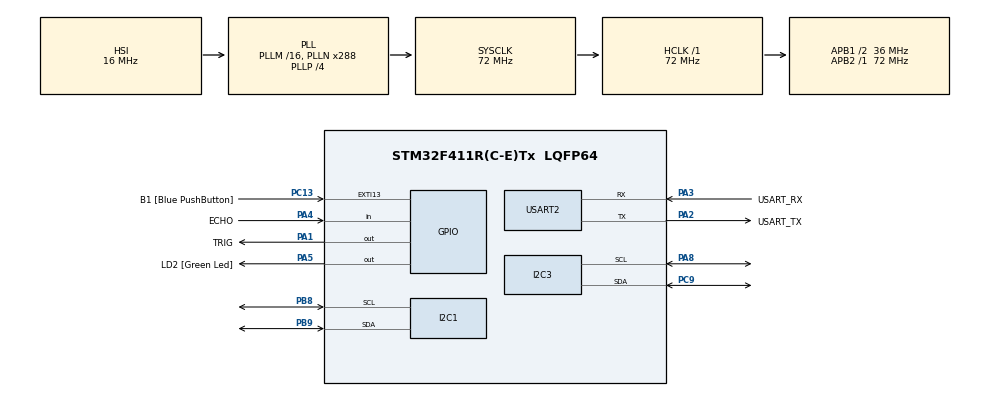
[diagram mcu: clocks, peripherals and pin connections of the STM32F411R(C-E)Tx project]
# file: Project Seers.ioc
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Mcu.Family=STM32F4
Mcu.Name=STM32F411R(C-E)Tx
Mcu.Package=LQFP64
NVIC.PriorityGroup=NVIC_PRIORITYGROUP_0
PA1.GPIO_Label=TRIG
PA1.Signal=GPIO_Output
PA13.GPIO_Label=TMS
PA13.Mode=Serial_Wire
PA13.Signal=SYS_JTMS-SWDIO
PA14.GPIO_Label=TCK
PA14.Mode=Serial_Wire
PA14.Signal=SYS_JTCK-SWCLK
PA2.GPIO_Label=USART_TX
PA2.Mode=Asynchronous
PA2.Signal=USART2_TX
PA3.GPIO_Label=USART_RX
PA3.Mode=Asynchronous
PA3.Signal=USART2_RX
PA4.GPIO_Label=ECHO
PA4.Signal=GPIO_Input
PA5.GPIO_Label=LD2 [Green Led]
PA5.Signal=GPIO_Output
PA8.Mode=I2C
PA8.Signal=I2C3_SCL
PB3.GPIO_Label=SWO
PB3.Signal=SYS_JTDO-SWO
PB8.Mode=I2C
PB8.Signal=I2C1_SCL
PB9.Mode=I2C
PB9.Signal=I2C1_SDA
PC13-ANTI_TAMP.GPIO_Label=B1 [Blue PushButton]
PC13-ANTI_TAMP.GPIO_ModeDefaultEXTI=GPIO_MODE_IT_FALLING
PC13-ANTI_TAMP.Signal=GPXTI13
PC14-OSC32_IN.Signal=RCC_OSC32_IN
PC15-OSC32_OUT.Signal=RCC_OSC32_OUT
PC9.Mode=I2C
PC9.Signal=I2C3_SDA
PH0\ -\ OSC_IN.Mode=HSE-External-Oscillator
PH0\ -\ OSC_IN.Signal=RCC_OSC_IN
PH1\ -\ OSC_OUT.Mode=HSE-External-Oscillator
PH1\ -\ OSC_OUT.Signal=RCC_OSC_OUT
ProjectManager.HeapSize=0x200
ProjectManager.StackSize=0x400
ProjectManager.TargetToolchain=TrueSTUDIO
RCC.48MHZClocksFreq_Value=108000000
RCC.AHBFreq_Value=72000000
RCC.APB1CLKDivider=RCC_HCLK_DIV2
RCC.APB1Freq_Value=36000000
RCC.APB1TimFreq_Value=72000000
RCC.APB2Freq_Value=72000000
RCC.APB2TimFreq_Value=72000000
RCC.CortexFreq_Value=72000000
RCC.FLatency-AdvancedSettings=FLASH_LATENCY_2
RCC.HCLKFreq_Value=72000000
RCC.HSE_VALUE=8000000
RCC.HSI_VALUE=16000000
RCC.LSE_VALUE=32768
RCC.PLLM=4
RCC.PLLN=216
RCC.PLLP=RCC_PLLP_DIV6
RCC.PLLSourceVirtual=RCC_PLLSOURCE_HSE
RCC.SYSCLKFreq_VALUE=72000000
RCC.SYSCLKSource=RCC_SYSCLKSOURCE_PLLCLK
RCC.VCOOutputFreq_Value=432000000
USART2.VirtualMode=VM_ASYNC
board=NUCLEO-F411RE

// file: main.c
/* USER CODE BEGIN Header */
/**
  ******************************************************************************
  * @file           : main.c
  * @brief          : Main program body
  ******************************************************************************
  * @attention
  *
  * <h2><center>&copy; Copyright (c) 2019 STMicroelectronics.
  * All rights reserved.</center></h2>
  *
  * This software component is licensed by ST under BSD 3-Clause license,
  * the "License"; You may not use this file except in compliance with the
  * License. You may obtain a copy of the License at:
  *                        opensource.org/licenses/BSD-3-Clause
  *
  ******************************************************************************
  */
/* USER CODE END Header */

#include "main.h"
#include "stm32f4xx.h"
#include "stm32f4xx_hal.h"
#include "vl53l1_api.h"
#include "dwt_stm32_delay.h"
#include <stdio.h>

I2C_HandleTypeDef hi2c1;
I2C_HandleTypeDef hi2c3;

UART_HandleTypeDef huart2;

/* USER CODE BEGIN PV */

// I2C addresses of GPIO expanders on the X-NUCLEO-53L1A1
#define EXPANDER_1_ADDR 0x84 // 0x42 << 1
#define EXPANDER_2_ADDR 0x86 // 0x43 << 1

/* USER CODE END PV */

void SystemClock_Config(void);
static void MX_GPIO_Init(void);
static void MX_I2C1_Init(void);
static void MX_I2C3_Init(void);
static void MX_USART2_UART_Init(void);
void Error_Handler(void);
float hcsr04_read (void);
void HAL_UART_RxCpltCallback(UART_HandleTypeDef *huart);

/* USER CODE BEGIN 0 */

#ifdef __GNUC__
/* With GCC/RAISONANCE, small printf (option LD Linker->Libraries->Small printf
 set to 'Yes') calls __io_putchar() */
#define PUTCHAR_PROTOTYPE int __io_putchar(int ch)
#else
#define PUTCHAR_PROTOTYPE int fputc(int ch, FILE *f)
#endif /* __GNUC__ */

int k=0;
int diff=0;
int local_time=0;
float sensor_time;
float distance;

float hcsr04_read (void)
{

	local_time=0;
	HAL_GPIO_WritePin(GPIOA, TRIG_Pin, GPIO_PIN_RESET);  // pull the TRIG pin HIGH
	DWT_Delay_us(2); //wait for 2 us

	HAL_GPIO_WritePin(GPIOA, TRIG_Pin, GPIO_PIN_SET);  // pull the TRIG pin HIGH
	DWT_Delay_us(10); //wait for 10 us

	HAL_GPIO_WritePin(GPIOA, TRIG_Pin, GPIO_PIN_RESET);  // pull the TRIG pin low

	// read the time for which the pin is high
	//DWT_Delay_us(2); //wait for  us
	while (!(HAL_GPIO_ReadPin(GPIOA, ECHO_Pin)))// wait for the ECHO pin to go high
	{
		//HAL_GPIO_WritePin(GPIOA, LD2_Pin,GPIO_PIN_RESET);
	}

	while (HAL_GPIO_ReadPin(GPIOA, ECHO_Pin))    // while the pin is high
	 {
		//HAL_GPIO_WritePin(GPIOA, LD2_Pin, GPIO_PIN_SET);
		local_time++;   // measure time for which the pin is high
		DWT_Delay_us(1); //wait for 1 us

	 }
	return local_time*2;
}

/* USER CODE END 0 */

uint8_t rx[15];
char str2[15]="XXXXXXXXXX";
int test=0;

int TLx=0;
int TLy=0;
int BRx=0;
int BRy=0;
int itn=0; //Default to 0 iterations

char temp_TLx[3]= "00\0";
char temp_TLy[3]= "00\0";
char temp_BRx[3]= "00\0";
char temp_BRy[3]= "00\0";
char temp_itn[5]= "0000\0";

uint8_t a=0;
uint8_t b=15;
uint8_t c=15;
uint8_t d=0;
int l=0;
int phase=1;
int total_itn=0;
int count=0;
int grid=1;
int block=1;

int main(void)
{
  /* USER CODE BEGIN 1 */

	uint8_t buff[100];
	VL53L1_RangingMeasurementData_t RangingData;
	VL53L1_Dev_t  vl53l1_c; // center module
	VL53L1_DEV    Dev = &vl53l1_c;
	VL53L1_CalibrationData_t OpCent;
	VL53L1_UserRoi_t roiConfig;

	char str1[100]="1234567890";

///////////////////////

//int i=0;
int j=0;
int k=0;

int start=0;

///////////////////////

  /* USER CODE END 1 */

  /* MCU Configuration--------------------------------------------------------*/

  /* Reset of all peripherals, Initializes the Flash interface and the Systick. */
  HAL_Init();
  //HAL_InitTick(10);

  /* USER CODE BEGIN Init */
   DWT_Delay_Init();
  /* USER CODE END Init */

  /* Configure the system clock */
  SystemClock_Config();

  /* Initialize all configured peripherals */
  MX_GPIO_Init();
  MX_I2C1_Init();
  MX_I2C3_Init();
  MX_USART2_UART_Init();

  /* USER CODE BEGIN 2 */

  // initialize vl53l1x communication parameters
  Dev->I2cHandle = &hi2c1;
  Dev->I2cDevAddr = 0x52;

  /*** Initialize GPIO expanders ***/
  // Unused GPIO should be configured as outputs to minimize the power consumption
  buff[0] = 0x14; // GPDR (GPIO set direction register)
  buff[1] = 0xFF; // GPIO_0 - GPIO_7
  buff[2] = 0xFF; // GPIO_8 - GPIO_15
  HAL_I2C_Master_Transmit( &hi2c1, EXPANDER_1_ADDR, buff, 3, 0xFFFF );
  HAL_I2C_Master_Transmit( &hi2c1, EXPANDER_2_ADDR, buff, 3, 0xFFFF );

  // clear XSHUT (disable center module) -> expander 1, GPIO_15
  buff[0] = 0x13; // GPSR + 1 ( GPIO set pin state register)
  HAL_I2C_Master_Transmit( &hi2c1, EXPANDER_1_ADDR, buff, 1, 0xFFFF );
  HAL_I2C_Master_Receive( &hi2c1, EXPANDER_1_ADDR, buff, 1, 0xFFFF );
  buff[1] = buff[0] & ~( 1 << ( 15 - 8 ) ); // clear GPIO_15
  buff[0] = 0x13; // GPSR + 1 ( GPIO set pin state register)
  HAL_I2C_Master_Transmit( &hi2c1, EXPANDER_1_ADDR, buff, 2, 0xFFFF );

  HAL_Delay(2); // 2ms reset time

  // set XSHUT (enable center module) -> expander 1, GPIO_15
  buff[0] = 0x13; // GPSR + 1 ( GPIO set pin state)
  HAL_I2C_Master_Transmit( &hi2c1, EXPANDER_1_ADDR, buff, 1, 0xFFFF );
  HAL_I2C_Master_Receive( &hi2c1, EXPANDER_1_ADDR, buff, 1, 0xFFFF );
  buff[1] = buff[0] | ( 1 << ( 15 - 8 ) ); // set GPIO_15
  buff[0] = 0x13; // GPSR + 1 ( GPIO set pin state register)
  HAL_I2C_Master_Transmit( &hi2c1, EXPANDER_1_ADDR, buff, 2, 0xFFFF );

  HAL_Delay(2);

  /*** VL53L1X Initialization ***/
  VL53L1_WaitDeviceBooted( Dev );
  VL53L1_DataInit( Dev );
  VL53L1_StaticInit( Dev );

  VL53L1_SetDistanceMode( Dev, VL53L1_DISTANCEMODE_LONG ); //default long
  VL53L1_SetMeasurementTimingBudgetMicroSeconds( Dev, 50000 ); //default 50000
  VL53L1_SetInterMeasurementPeriodMilliSeconds( Dev, 500 );  //default 500

  VL53L1_StartMeasurement(Dev);

  VL53L1_GetCalibrationData(Dev, &OpCent); //Calibration data

  /* USER CODE END 2 */

  /* Infinite loop */
   /* USER CODE BEGIN WHILE */

 HAL_GPIO_WritePin(GPIOA, TRIG_Pin, GPIO_PIN_RESET);  // pull the TRIG pin low

   while (1)
   {

			   str2[0]='Z';
			   str2[1]=0;
			   str2[2]=0;
			   str2[3]=0;
			   str2[4]=0;
			   str2[5]=0;
			   str2[6]=0;
			   str2[7]=0;
			   str2[8]=0;
			   str2[9]=0;
			   str2[10]=0;
			   str2[11]=0;
			   str2[12]=0;

	   HAL_UART_Receive(&huart2, rx, 15, 2500);

	   sprintf(str2,(char*)rx);

		   k=0;
		   for (j=1; j<3; j++)
		   {
			   temp_TLx[k]=str2[j];
			   k++;
		   }

		   TLx=atoi(temp_TLx);

		   k=0;

		   for (j=3; j<5; j++)
		   {
			   temp_TLy[k]=str2[j];
			   k++;
		   }

		   TLy=atoi(temp_TLy);

		   k=0;

		   for (j=5; j<7; j++)
		   {
			   temp_BRx[k]=str2[j];
			   k++;
		   }

		   BRx=atoi(temp_BRx);

		   k=0;

		   for (j=7; j<9; j++)
		   {
			   temp_BRy[k]=str2[j];
			   k++;
		   }

		   BRy=atoi(temp_BRy);

		   k=0;

		   for (j=9; j<13; j++)
		   {
			   temp_itn[k]=str2[j];
			   k++;
		   }

		   itn=atoi(temp_itn);

	   if(str2[0]=='Z')
	  	   {

	  			//HAL_GPIO_WritePin(GPIOA, LD2_Pin, 1);
	  			//HAL_Delay(100);
	  			//HAL_GPIO_WritePin(GPIOA, LD2_Pin, 0);
	  			HAL_GPIO_TogglePin(GPIOA, LD2_Pin);
	  			HAL_Delay(500);
	  			start=0;

	  	   }

	   else if(str2[0]=='A') //Default Case
	  	   {

		   VL53L1_StopMeasurement(Dev);
		   roiConfig.TopLeftX = 0;
		   roiConfig.TopLeftY = 15;
		   roiConfig.BotRightX = 15;
		   roiConfig.BotRightY = 0;
		   VL53L1_SetUserROI(Dev, &roiConfig);

		   VL53L1_SetDistanceMode(Dev, VL53L1_DISTANCEMODE_LONG); //default long
		   VL53L1_SetMeasurementTimingBudgetMicroSeconds(Dev, 50000); //default 50000
		   VL53L1_SetInterMeasurementPeriodMilliSeconds(Dev, 500);  //default 500

		   VL53L1_StartMeasurement(Dev);
		   start=1;

	  	   }

	   else if(str2[0]=='B') //Case to change Array Settings (with Default Settings)
	  	   {

		   VL53L1_StopMeasurement(Dev);
		   roiConfig.TopLeftX = TLx;
		   roiConfig.TopLeftY = TLy;
		   roiConfig.BotRightX = BRx;
		   roiConfig.BotRightY = BRy;
		   VL53L1_SetUserROI(Dev, &roiConfig);

		   VL53L1_SetDistanceMode(Dev, VL53L1_DISTANCEMODE_LONG); //default long
		   VL53L1_SetMeasurementTimingBudgetMicroSeconds(Dev, 50000); //default 50000
		   VL53L1_SetInterMeasurementPeriodMilliSeconds(Dev, 500);  //default 500

		   VL53L1_StartMeasurement(Dev);
		   start=1;

	  	   }

	   else if(str2[0]=='C') //Case to 20 --> Short
	  	   {

		   VL53L1_StopMeasurement(Dev);
		   roiConfig.TopLeftX = TLx;
		   roiConfig.TopLeftY = TLy;
		   roiConfig.BotRightX = BRx;
		   roiConfig.BotRightY = BRy;
		   VL53L1_SetUserROI(Dev, &roiConfig);

		   VL53L1_SetDistanceMode(Dev, VL53L1_DISTANCEMODE_SHORT);
		   VL53L1_SetMeasurementTimingBudgetMicroSeconds(Dev, 20000);
		   VL53L1_SetInterMeasurementPeriodMilliSeconds(Dev, 25);

		   VL53L1_StartMeasurement(Dev);
		   start=1;

	  	   }

	   else if(str2[0]=='D') //Case to 33 --> Short
	  	   {

		   VL53L1_StopMeasurement(Dev);
		   roiConfig.TopLeftX = TLx;
		   roiConfig.TopLeftY = TLy;
		   roiConfig.BotRightX = BRx;
		   roiConfig.BotRightY = BRy;
		   VL53L1_SetUserROI(Dev, &roiConfig);

		   VL53L1_SetDistanceMode(Dev, VL53L1_DISTANCEMODE_SHORT);
		   VL53L1_SetMeasurementTimingBudgetMicroSeconds(Dev, 33000);
		   VL53L1_SetInterMeasurementPeriodMilliSeconds(Dev, 38);

		   VL53L1_StartMeasurement(Dev);
		   start=1;

	  	   }

	   else if(str2[0]=='E') //Case to 33 --> Medium
	  	   {

		   VL53L1_StopMeasurement(Dev);
		   roiConfig.TopLeftX = TLx;
		   roiConfig.TopLeftY = TLy;
		   roiConfig.BotRightX = BRx;
		   roiConfig.BotRightY = BRy;
		   VL53L1_SetUserROI(Dev, &roiConfig);

		   VL53L1_SetDistanceMode(Dev, VL53L1_DISTANCEMODE_MEDIUM);
		   VL53L1_SetMeasurementTimingBudgetMicroSeconds(Dev, 33000);
		   VL53L1_SetInterMeasurementPeriodMilliSeconds(Dev, 38);

		   VL53L1_StartMeasurement(Dev);
		   start=1;

	  	   }

	   else if(str2[0]=='F') //Case to 33 --> Long
	  	   {

		   VL53L1_StopMeasurement(Dev);
		   roiConfig.TopLeftX = TLx;
		   roiConfig.TopLeftY = TLy;
		   roiConfig.BotRightX = BRx;
		   roiConfig.BotRightY = BRy;
		   VL53L1_SetUserROI(Dev, &roiConfig);

		   VL53L1_SetDistanceMode(Dev, VL53L1_DISTANCEMODE_LONG);
		   VL53L1_SetMeasurementTimingBudgetMicroSeconds(Dev, 33000);
		   VL53L1_SetInterMeasurementPeriodMilliSeconds(Dev, 38);

		   VL53L1_StartMeasurement(Dev);
		   start=1;

	  	   }

	   else if(str2[0]=='G') //Case to 140 --> Short
	  	   {

		   VL53L1_StopMeasurement(Dev);
		   roiConfig.TopLeftX = TLx;
		   roiConfig.TopLeftY = TLy;
		   roiConfig.BotRightX = BRx;
		   roiConfig.BotRightY = BRy;
		   VL53L1_SetUserROI(Dev, &roiConfig);

		   VL53L1_SetDistanceMode(Dev, VL53L1_DISTANCEMODE_SHORT);
		   VL53L1_SetMeasurementTimingBudgetMicroSeconds(Dev, 140000);
		   VL53L1_SetInterMeasurementPeriodMilliSeconds(Dev, 150);

		   VL53L1_StartMeasurement(Dev);
		   start=1;

	  	   }

	   else if(str2[0]=='H') //Case to 140 --> Medium
	  	   {

		   VL53L1_StopMeasurement(Dev);
		   roiConfig.TopLeftX = TLx;
		   roiConfig.TopLeftY = TLy;
		   roiConfig.BotRightX = BRx;
		   roiConfig.BotRightY = BRy;
		   VL53L1_SetUserROI(Dev, &roiConfig);

		   VL53L1_SetDistanceMode(Dev, VL53L1_DISTANCEMODE_MEDIUM);
		   VL53L1_SetMeasurementTimingBudgetMicroSeconds(Dev, 140000);
		   VL53L1_SetInterMeasurementPeriodMilliSeconds(Dev, 150);

		   VL53L1_StartMeasurement(Dev);
		   start=1;

	  	   }

	   else if(str2[0]=='K') //Case to 140 --> Long
	  	   {

		   VL53L1_StopMeasurement(Dev);

		   roiConfig.TopLeftX = TLx;
		   roiConfig.TopLeftY = TLy;
		   roiConfig.BotRightX = BRx;
		   roiConfig.BotRightY = BRy;
		   VL53L1_SetUserROI(Dev, &roiConfig);

		   VL53L1_SetDistanceMode(Dev, VL53L1_DISTANCEMODE_LONG);
		   VL53L1_SetMeasurementTimingBudgetMicroSeconds(Dev, 140000);
		   VL53L1_SetInterMeasurementPeriodMilliSeconds(Dev, 150);

		   VL53L1_StartMeasurement(Dev);
		   start=1;

	  	   }

	   /////////////////////

	   /////////////////////

	   else if(str2[0]=='J') //Case to change Array Settings to Set 3 (Scanning ROI)
	  	   {

		   total_itn=itn*52; //Total Iterations per ROI scan. 52 Overlapping regions
		   start=0;
		   phase=1;
		   j=0;
		   k=0;
		   count=0;
		   grid=1;
		   block=1;

		   TLx=0;
		   TLy=3;
		   BRx=3;
		   BRy=0;

		   VL53L1_StopMeasurement(Dev);
		   roiConfig.TopLeftX = TLx;
		   roiConfig.TopLeftY = TLy;
		   roiConfig.BotRightX = BRx;
		   roiConfig.BotRightY = BRy;
		   VL53L1_SetUserROI(Dev, &roiConfig);
		   VL53L1_StartMeasurement(Dev);

	while(1)
	{

		   if(phase==1)
		   {

			   // Phase 1 //////////////////////
			   VL53L1_StopMeasurement(Dev);
			   VL53L1_SetDistanceMode(Dev, VL53L1_DISTANCEMODE_SHORT);
			   VL53L1_SetMeasurementTimingBudgetMicroSeconds(Dev, 20000);
			   VL53L1_SetInterMeasurementPeriodMilliSeconds(Dev, 25);
			   VL53L1_StartMeasurement(Dev);

  				TLx=0;
  				TLy=3;
  				BRx=3;
  				BRy=0;

			   grid=1;
			   block=1;

		   	   while(phase==1)
		   	   {

		   		   ////////////////////////////////////////

		   		   if (grid==1 && block<14)
		   			{
			   		   TLx=0;
			   	   	   TLy=block+2;
			   	   	   BRx=3;
			   	   	   BRy=block-1;
		   			}

		   		   else if (grid>1 && grid<14 && block<14)
		   			{
		   		   TLx=TLx+1;
		   	   	   TLy=block+2;
		   	   	   BRx=BRx+1;
		   	   	   BRy=block-1;
		   			}

		   		   /////////////////////////////////////////////

				   else
				   {

					   phase=2;
					   break;

				   }

		   	   	   VL53L1_StopMeasurement(Dev);
		   	   	   roiConfig.TopLeftX = TLx;
		   	   	   roiConfig.TopLeftY = TLy;
		   	   	   roiConfig.BotRightX = BRx;
		   	   	   roiConfig.BotRightY = BRy;
		   	   	   VL53L1_SetUserROI(Dev, &roiConfig);
		   	   	   VL53L1_StartMeasurement(Dev);

		   	   	   while(1) //500 Iteration loop
		   	   	   {

			   	  			 	    VL53L1_WaitMeasurementDataReady( Dev );
			   	  			 	    VL53L1_GetRangingMeasurementData( Dev, &RangingData );
			   	  					sensor_time = hcsr04_read();
			   	  					distance  = sensor_time * (.343/2); // meters per second * seconds
			   	  					sprintf(str1, "%.*f",8,distance);
			   	  					sprintf( (char*)buff, "%.8s, %d, %d, %.4f, %.4f, %d, %d, %f  \n\r",str1,RangingData.RangeMilliMeter,RangingData.RangeStatus,( RangingData.SignalRateRtnMegaCps / 65536.0 ),(RangingData.AmbientRateRtnMegaCps / 65336.0 ),(RangingData.StreamCount),(RangingData.EffectiveSpadRtnCount / 256),( RangingData.SigmaMilliMeter / 65536.0 ));  //No printed labels
			   	  					HAL_UART_Transmit( &huart2, buff, strlen((char*)buff ), 0xFFFF);
			   	  					VL53L1_ClearInterruptAndStartMeasurement(Dev);

			   	  					k++;
			   	  					count++;

			   	  			   if(k==itn && grid!=13) //Comment out if there is no desire to break the data collection loop after settings have been changed
			   	  			   {
			   	  				   k=0;
			   	  				   grid++;

			   	  				   break;
			   	  			   }

			   	  			   else if(k==itn && grid==13)
			   	  			   {
			   	  				   k=0;
			   	  				   grid=1;
			   	  				   block++;

			   	  				   break;

			   	  			   }

		   	   	   }

		   	   } // PHASE 1 WHILE END

		   } // PHASE 1 END

		   else if(phase==2)
		   {

			   // Phase 2 //////////////////////
			   VL53L1_StopMeasurement(Dev);
			   VL53L1_SetDistanceMode(Dev, VL53L1_DISTANCEMODE_MEDIUM);
			   VL53L1_SetMeasurementTimingBudgetMicroSeconds(Dev, 33000);
			   VL53L1_SetInterMeasurementPeriodMilliSeconds(Dev, 39);
			   VL53L1_StartMeasurement(Dev);

 				TLx=0;
 				TLy=3;
 				BRx=3;
 				BRy=0;

			   grid=1;
			   block=1;

			   ////////////////////////

		   	   while(phase==2)
		   	   {

		   		   if (grid==1 && block<14)
		   			{
			   		   TLx=0;
			   	   	   TLy=block+2;
			   	   	   BRx=3;
			   	   	   BRy=block-1;
		   			}

		   		   else if (grid>1 && grid<14 && block<14)
		   			{
		   		   TLx=TLx+1;
		   	   	   TLy=block+2;
		   	   	   BRx=BRx+1;
		   	   	   BRy=block-1;
		   			}

		   		///////////////////////////////////////////////////////////////////////

				   else
				   {

					   phase=3;
					   break;

				   }

		   	   	   VL53L1_StopMeasurement(Dev);
		   	   	   roiConfig.TopLeftX = TLx;
		   	   	   roiConfig.TopLeftY = TLy;
		   	   	   roiConfig.BotRightX = BRx;
		   	   	   roiConfig.BotRightY = BRy;
		   	   	   VL53L1_SetUserROI(Dev, &roiConfig);
		   	   	   VL53L1_StartMeasurement(Dev);

		   	   	   while(1) //500 Iteration loop
		   	   	   {

			   	  			 	    VL53L1_WaitMeasurementDataReady( Dev );
			   	  			 	    VL53L1_GetRangingMeasurementData( Dev, &RangingData );
			   	  					sensor_time = hcsr04_read();
			   	  					distance  = sensor_time * (.343/2); // meters per second * seconds
			   	  					sprintf(str1, "%.*f",8,distance);
			   	  					sprintf( (char*)buff, "%.8s, %d, %d, %.4f, %.4f, %d, %d, %f  \n\r",str1,RangingData.RangeMilliMeter,RangingData.RangeStatus,( RangingData.SignalRateRtnMegaCps / 65536.0 ),(RangingData.AmbientRateRtnMegaCps / 65336.0 ),(RangingData.StreamCount),(RangingData.EffectiveSpadRtnCount / 256),( RangingData.SigmaMilliMeter / 65536.0 ));  //No printed labels
			   	  					HAL_UART_Transmit( &huart2, buff, strlen((char*)buff ), 0xFFFF);
			   	  					VL53L1_ClearInterruptAndStartMeasurement(Dev);

			   	  					k++;
			   	  					count++;

			   	  			   if(k==itn && grid!=13) //Comment out if there is no desire to break the data collection loop after settings have been changed
			   	  			   {
			   	  				   k=0;
			   	  				   grid++;

			   	  				   break;
			   	  			   }

			   	  			   else if(k==itn && grid==13)
			   	  			   {
			   	  				   k=0;
			   	  				   grid=1;
			   	  				   block++;

			   	  				   break;

			   	  			   }

		   	   	   }

		   	   }

		   } // PHASE 2 END

		   if(phase==3) //PHASE 3 BEGIN
		   {

			   // Phase 1 //////////////////////
			   VL53L1_StopMeasurement(Dev);
			   VL53L1_SetDistanceMode(Dev, VL53L1_DISTANCEMODE_LONG);
			   VL53L1_SetMeasurementTimingBudgetMicroSeconds(Dev, 33000);
			   VL53L1_SetInterMeasurementPeriodMilliSeconds(Dev, 39);
			   VL53L1_StartMeasurement(Dev);

  				TLx=0;
  				TLy=3;
  				BRx=3;
  				BRy=0;

			   grid=1;
			   block=1;

		   	   while(phase==3)
		   	   {

		   		   ////////////////////////////////////////

		   		   if (grid==1 && block<14)
		   			{
			   		   TLx=0;
			   	   	   TLy=block+2;
			   	   	   BRx=3;
			   	   	   BRy=block-1;
		   			}

		   		   else if (grid>1 && grid<14 && block<14)
		   			{
		   		   TLx=TLx+1;
		   	   	   TLy=block+2;
		   	   	   BRx=BRx+1;
		   	   	   BRy=block-1;
		   			}

		   		   /////////////////////////////////////////////

				   else
				   {

					   phase=4;
					   break;

				   }

		   	   	   VL53L1_StopMeasurement(Dev);
		   	   	   roiConfig.TopLeftX = TLx;
		   	   	   roiConfig.TopLeftY = TLy;
		   	   	   roiConfig.BotRightX = BRx;
		   	   	   roiConfig.BotRightY = BRy;
		   	   	   VL53L1_SetUserROI(Dev, &roiConfig);
		   	   	   VL53L1_StartMeasurement(Dev);

		   	   	   while(1) //500 Iteration loop
		   	   	   {

			   	  			 	    VL53L1_WaitMeasurementDataReady( Dev );
			   	  			 	    VL53L1_GetRangingMeasurementData( Dev, &RangingData );
			   	  					sensor_time = hcsr04_read();
			   	  					distance  = sensor_time * (.343/2); // meters per second * seconds
			   	  					sprintf(str1, "%.*f",8,distance);
			   	  					sprintf( (char*)buff, "%.8s, %d, %d, %.4f, %.4f, %d, %d, %f  \n\r",str1,RangingData.RangeMilliMeter,RangingData.RangeStatus,( RangingData.SignalRateRtnMegaCps / 65536.0 ),(RangingData.AmbientRateRtnMegaCps / 65336.0 ),(RangingData.StreamCount),(RangingData.EffectiveSpadRtnCount / 256),( RangingData.SigmaMilliMeter / 65536.0 ));  //No printed labels
			   	  					HAL_UART_Transmit( &huart2, buff, strlen((char*)buff ), 0xFFFF);
			   	  					VL53L1_ClearInterruptAndStartMeasurement(Dev);

			   	  					k++;
			   	  					count++;

			   	  			   if(k==itn && grid!=13) //Comment out if there is no desire to break the data collection loop after settings have been changed
			   	  			   {
			   	  				   k=0;
			   	  				   grid++;

			   	  				   break;
			   	  			   }

			   	  			   else if(k==itn && grid==13)
			   	  			   {
			   	  				   k=0;
			   	  				   grid=1;
			   	  				   block++;

			   	  				   break;

			   	  			   }

		   	   	   }

		   	   }

		   } // PHASE 3 END

		   else if(phase==4)
		   {

			   break;

		   }

	  	   } //J Statement WHILE END

	  	   } //J Statement END

if(start==1) //Main Data Gathering Loop
{
	   while(1)
	   {

		   	   //OPTICAL SENSOR: USER CODE BEGIN 3
		   	  			 	    VL53L1_WaitMeasurementDataReady( Dev );

		   	  			 	    VL53L1_GetRangingMeasurementData( Dev, &RangingData );

		   	  			   	   //OPTICAL SENSOR: USER CODE END 3

		   	  				   //ULTRASONIC SENSOR: USER CODE BEGIN 3

		   	  					  sensor_time = hcsr04_read();
		   	  					  distance  = sensor_time * (.343/2); // meters per second * seconds
		   	  					  k=distance;

		   	  					  sprintf(str1, "%.*f",8,distance);

		   	  					  sprintf( (char*)buff, "%.8s, %d, %d, %.4f, %.4f, %d, %d, %f  \n\r",str1,RangingData.RangeMilliMeter,RangingData.RangeStatus,( RangingData.SignalRateRtnMegaCps / 65536.0 ),(RangingData.AmbientRateRtnMegaCps / 65336.0 ),(RangingData.StreamCount),(RangingData.EffectiveSpadRtnCount / 256),( RangingData.SigmaMilliMeter / 65536.0 ));  //No printed labels
		   	  					 // sprintf(str2, "%d",OpCent.optical_centre);
		   	  					  //sprintf((char*)buff, "%s\n\r", str2);

		   	  					  HAL_UART_Transmit( &huart2, buff, strlen((char*)buff ), 0xFFFF);
		   	  					  VL53L1_ClearInterruptAndStartMeasurement(Dev);

		   	  					  //Ultrasonic sensor range, Optical sensor range

		   	  					 //ULTRASONIC SENSOR: USER CODE END 3

		   	  					l++;

//*
		   	  			   if(l==itn) //Comment out if there is no desire to break the data collection loop after settings have been changed
		   	  			   {

		   	  				   start=0;

		   	  				   l=0;

		   	  				   break;

		   	  			   }

//*/

	   }

}

   }

}

void HAL_UART_RxCpltCallback(UART_HandleTypeDef *huart)
{

	HAL_UART_Receive_IT( &huart2, rx, 15 );

}

void SystemClock_Config(void)
{
  RCC_OscInitTypeDef RCC_OscInitStruct = {0};
  RCC_ClkInitTypeDef RCC_ClkInitStruct = {0};

  /** Configure the main internal regulator output voltage
  */
  __HAL_RCC_PWR_CLK_ENABLE();
  __HAL_PWR_VOLTAGESCALING_CONFIG(PWR_REGULATOR_VOLTAGE_SCALE1);
  // Initializes the CPU, AHB and APB busses clocks

  RCC_OscInitStruct.OscillatorType = RCC_OSCILLATORTYPE_HSI;
    RCC_OscInitStruct.HSIState = RCC_HSI_ON;
    RCC_OscInitStruct.HSICalibrationValue = RCC_HSICALIBRATION_DEFAULT;
    RCC_OscInitStruct.PLL.PLLState = RCC_PLL_ON;
    RCC_OscInitStruct.PLL.PLLSource = RCC_PLLSOURCE_HSI;
    RCC_OscInitStruct.PLL.PLLM = 16;
    RCC_OscInitStruct.PLL.PLLN = 288;
    RCC_OscInitStruct.PLL.PLLP = RCC_PLLP_DIV4;
    RCC_OscInitStruct.PLL.PLLQ = 4;
  if (HAL_RCC_OscConfig(&RCC_OscInitStruct) != HAL_OK)
  {
    Error_Handler();
  }
  /** Initializes the CPU, AHB and APB busses clocks
  */
  RCC_ClkInitStruct.ClockType = RCC_CLOCKTYPE_HCLK|RCC_CLOCKTYPE_SYSCLK
                              |RCC_CLOCKTYPE_PCLK1|RCC_CLOCKTYPE_PCLK2;
  RCC_ClkInitStruct.SYSCLKSource = RCC_SYSCLKSOURCE_PLLCLK;
  RCC_ClkInitStruct.AHBCLKDivider = RCC_SYSCLK_DIV1;
  RCC_ClkInitStruct.APB1CLKDivider = RCC_HCLK_DIV2;
  RCC_ClkInitStruct.APB2CLKDivider = RCC_HCLK_DIV1;

  if (HAL_RCC_ClockConfig(&RCC_ClkInitStruct, FLASH_LATENCY_2) != HAL_OK)
  {
    Error_Handler();
  }
}

static void MX_I2C1_Init(void)
{

  hi2c1.Instance = I2C1;
  hi2c1.Init.ClockSpeed = 100000;
  hi2c1.Init.DutyCycle = I2C_DUTYCYCLE_2;
  hi2c1.Init.OwnAddress1 = 0;
  hi2c1.Init.AddressingMode = I2C_ADDRESSINGMODE_7BIT;
  hi2c1.Init.DualAddressMode = I2C_DUALADDRESS_DISABLE;
  hi2c1.Init.OwnAddress2 = 0;
  hi2c1.Init.GeneralCallMode = I2C_GENERALCALL_DISABLE;
  hi2c1.Init.NoStretchMode = I2C_NOSTRETCH_DISABLE;
  if (HAL_I2C_Init(&hi2c1) != HAL_OK)
  {
    Error_Handler();
  }

}

static void MX_I2C3_Init(void)
{

  hi2c3.Instance = I2C3;
  hi2c3.Init.ClockSpeed = 100000;
  hi2c3.Init.DutyCycle = I2C_DUTYCYCLE_2;
  hi2c3.Init.OwnAddress1 = 0;
  hi2c3.Init.AddressingMode = I2C_ADDRESSINGMODE_7BIT;
  hi2c3.Init.DualAddressMode = I2C_DUALADDRESS_DISABLE;
  hi2c3.Init.OwnAddress2 = 0;
  hi2c3.Init.GeneralCallMode = I2C_GENERALCALL_DISABLE;
  hi2c3.Init.NoStretchMode = I2C_NOSTRETCH_DISABLE;
  if (HAL_I2C_Init(&hi2c3) != HAL_OK)
  {
    Error_Handler();
  }

}

static void MX_USART2_UART_Init(void)
{

  huart2.Instance = USART2;
  huart2.Init.BaudRate = 115200;
  huart2.Init.WordLength = UART_WORDLENGTH_8B;
  huart2.Init.StopBits = UART_STOPBITS_1;
  huart2.Init.Parity = UART_PARITY_NONE;
  huart2.Init.Mode = UART_MODE_TX_RX;
  huart2.Init.HwFlowCtl = UART_HWCONTROL_NONE;
  huart2.Init.OverSampling = UART_OVERSAMPLING_16;
  if (HAL_UART_Init(&huart2) != HAL_OK)
  {
    Error_Handler();
  }

}

static void MX_GPIO_Init(void)
{
  GPIO_InitTypeDef GPIO_InitStruct = {0};

  /* GPIO Ports Clock Enable */
  __HAL_RCC_GPIOC_CLK_ENABLE();
  __HAL_RCC_GPIOH_CLK_ENABLE();
  __HAL_RCC_GPIOA_CLK_ENABLE();
  __HAL_RCC_GPIOB_CLK_ENABLE();

  /*Configure GPIO pin Output Level */
  HAL_GPIO_WritePin(GPIOA, TRIG_Pin|LD2_Pin, GPIO_PIN_RESET);

  /*Configure GPIO pin : B1_Pin */
  GPIO_InitStruct.Pin = B1_Pin;
  GPIO_InitStruct.Mode = GPIO_MODE_IT_FALLING;
  GPIO_InitStruct.Pull = GPIO_NOPULL;
  HAL_GPIO_Init(B1_GPIO_Port, &GPIO_InitStruct);

  /*Configure GPIO pins : TRIG_Pin LD2_Pin */
  GPIO_InitStruct.Pin = TRIG_Pin|LD2_Pin;
  GPIO_InitStruct.Mode = GPIO_MODE_OUTPUT_PP;
  GPIO_InitStruct.Pull = GPIO_NOPULL;
  GPIO_InitStruct.Speed = GPIO_SPEED_FREQ_LOW;
  HAL_GPIO_Init(GPIOA, &GPIO_InitStruct);

  /*Configure GPIO pin : ECHO_Pin */
  GPIO_InitStruct.Pin = ECHO_Pin;
  GPIO_InitStruct.Mode = GPIO_MODE_INPUT;
  GPIO_InitStruct.Pull = GPIO_NOPULL;
  HAL_GPIO_Init(ECHO_GPIO_Port, &GPIO_InitStruct);

}

/* USER CODE BEGIN 4 */
PUTCHAR_PROTOTYPE
{
 /* Place your implementation of fputc here */
 /* e.g. write a character to the USART2 and Loop until the end of transmission */
 HAL_UART_Transmit(&huart2, (uint8_t *)&ch, 1, 0xFFFF);

return ch;
}
/* USER CODE END 4 */

void Error_Handler(void)
{
}

/************************ (C) COPYRIGHT STMicroelectronics *****END OF FILE****/
